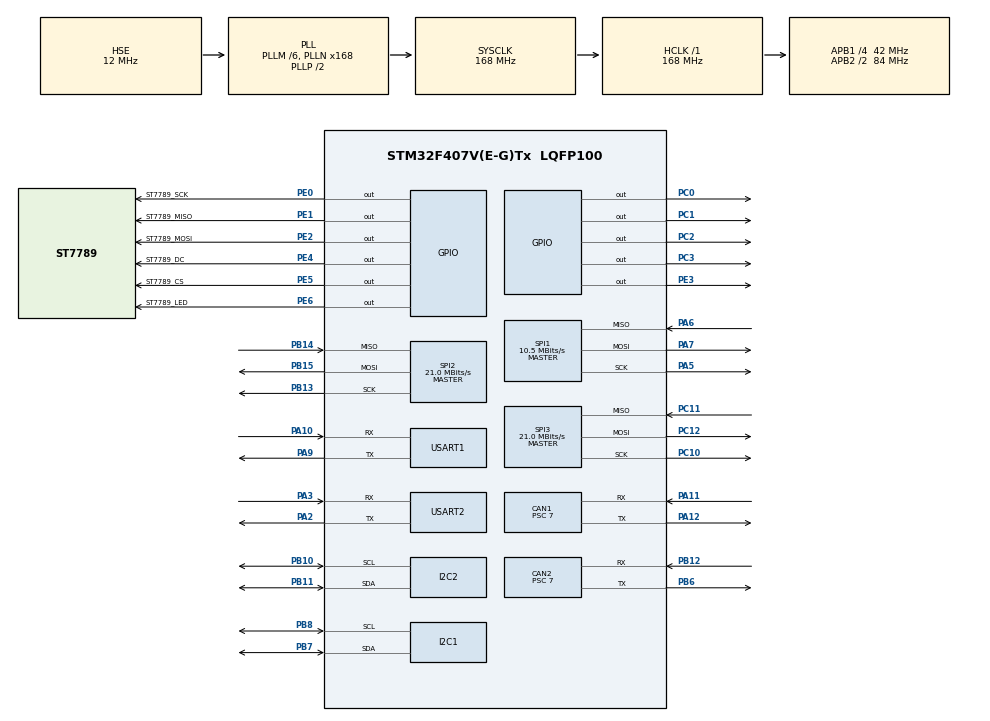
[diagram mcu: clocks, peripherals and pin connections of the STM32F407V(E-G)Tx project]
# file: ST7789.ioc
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CAN1.BS1=CAN_BS1_15TQ
CAN1.BS2=CAN_BS2_8TQ
CAN1.CalculateBaudRate=249999
CAN1.CalculateTimeBit=4000
CAN1.CalculateTimeQuantum=166.66666666666669
CAN1.Prescaler=7
CAN2.BS1=CAN_BS1_15TQ
CAN2.BS2=CAN_BS2_8TQ
CAN2.CalculateBaudRate=249999
CAN2.CalculateTimeBit=4000
CAN2.CalculateTimeQuantum=166.66666666666669
CAN2.Prescaler=7
Dma.Request0=SPI1_TX
Dma.Request1=SPI2_RX
Dma.Request2=SPI2_TX
Dma.Request3=SPI3_RX
Dma.Request4=SPI3_TX
Dma.Request5=USART1_RX
Dma.Request6=USART1_TX
Dma.Request7=USART2_RX
Dma.Request8=USART2_TX
Dma.SPI1_TX.0.Direction=DMA_MEMORY_TO_PERIPH
Dma.SPI1_TX.0.FIFOMode=DMA_FIFOMODE_DISABLE
Dma.SPI1_TX.0.Instance=DMA2_Stream3
Dma.SPI1_TX.0.MemDataAlignment=DMA_MDATAALIGN_BYTE
Dma.SPI1_TX.0.MemInc=DMA_MINC_ENABLE
Dma.SPI1_TX.0.Mode=DMA_NORMAL
Dma.SPI1_TX.0.PeriphDataAlignment=DMA_PDATAALIGN_BYTE
Dma.SPI1_TX.0.PeriphInc=DMA_PINC_DISABLE
Dma.SPI1_TX.0.Priority=DMA_PRIORITY_LOW
Dma.SPI2_RX.1.Direction=DMA_PERIPH_TO_MEMORY
Dma.SPI2_RX.1.FIFOMode=DMA_FIFOMODE_DISABLE
Dma.SPI2_RX.1.Instance=DMA1_Stream3
Dma.SPI2_RX.1.MemDataAlignment=DMA_MDATAALIGN_BYTE
Dma.SPI2_RX.1.MemInc=DMA_MINC_ENABLE
Dma.SPI2_RX.1.Mode=DMA_NORMAL
Dma.SPI2_RX.1.PeriphDataAlignment=DMA_PDATAALIGN_BYTE
Dma.SPI2_RX.1.PeriphInc=DMA_PINC_DISABLE
Dma.SPI2_RX.1.Priority=DMA_PRIORITY_LOW
Dma.SPI2_TX.2.Direction=DMA_MEMORY_TO_PERIPH
Dma.SPI2_TX.2.FIFOMode=DMA_FIFOMODE_DISABLE
Dma.SPI2_TX.2.Instance=DMA1_Stream4
Dma.SPI2_TX.2.MemDataAlignment=DMA_MDATAALIGN_BYTE
Dma.SPI2_TX.2.MemInc=DMA_MINC_ENABLE
Dma.SPI2_TX.2.Mode=DMA_NORMAL
Dma.SPI2_TX.2.PeriphDataAlignment=DMA_PDATAALIGN_BYTE
Dma.SPI2_TX.2.PeriphInc=DMA_PINC_DISABLE
Dma.SPI2_TX.2.Priority=DMA_PRIORITY_LOW
Dma.SPI3_RX.3.Direction=DMA_PERIPH_TO_MEMORY
Dma.SPI3_RX.3.FIFOMode=DMA_FIFOMODE_DISABLE
Dma.SPI3_RX.3.Instance=DMA1_Stream0
Dma.SPI3_RX.3.MemDataAlignment=DMA_MDATAALIGN_BYTE
Dma.SPI3_RX.3.MemInc=DMA_MINC_ENABLE
Dma.SPI3_RX.3.Mode=DMA_NORMAL
Dma.SPI3_RX.3.PeriphDataAlignment=DMA_PDATAALIGN_BYTE
Dma.SPI3_RX.3.PeriphInc=DMA_PINC_DISABLE
Dma.SPI3_RX.3.Priority=DMA_PRIORITY_LOW
Dma.SPI3_TX.4.Direction=DMA_MEMORY_TO_PERIPH
Dma.SPI3_TX.4.FIFOMode=DMA_FIFOMODE_DISABLE
Dma.SPI3_TX.4.Instance=DMA1_Stream7
Dma.SPI3_TX.4.MemDataAlignment=DMA_MDATAALIGN_BYTE
Dma.SPI3_TX.4.MemInc=DMA_MINC_ENABLE
Dma.SPI3_TX.4.Mode=DMA_NORMAL
Dma.SPI3_TX.4.PeriphDataAlignment=DMA_PDATAALIGN_BYTE
Dma.SPI3_TX.4.PeriphInc=DMA_PINC_DISABLE
Dma.SPI3_TX.4.Priority=DMA_PRIORITY_LOW
Dma.USART1_RX.5.Direction=DMA_PERIPH_TO_MEMORY
Dma.USART1_RX.5.FIFOMode=DMA_FIFOMODE_DISABLE
Dma.USART1_RX.5.Instance=DMA2_Stream2
Dma.USART1_RX.5.MemDataAlignment=DMA_MDATAALIGN_BYTE
Dma.USART1_RX.5.MemInc=DMA_MINC_ENABLE
Dma.USART1_RX.5.Mode=DMA_NORMAL
Dma.USART1_RX.5.PeriphDataAlignment=DMA_PDATAALIGN_BYTE
Dma.USART1_RX.5.PeriphInc=DMA_PINC_DISABLE
Dma.USART1_RX.5.Priority=DMA_PRIORITY_LOW
Dma.USART1_TX.6.Direction=DMA_MEMORY_TO_PERIPH
Dma.USART1_TX.6.FIFOMode=DMA_FIFOMODE_DISABLE
Dma.USART1_TX.6.Instance=DMA2_Stream7
Dma.USART1_TX.6.MemDataAlignment=DMA_MDATAALIGN_BYTE
Dma.USART1_TX.6.MemInc=DMA_MINC_ENABLE
Dma.USART1_TX.6.Mode=DMA_NORMAL
Dma.USART1_TX.6.PeriphDataAlignment=DMA_PDATAALIGN_BYTE
Dma.USART1_TX.6.PeriphInc=DMA_PINC_DISABLE
Dma.USART1_TX.6.Priority=DMA_PRIORITY_LOW
Dma.USART2_RX.7.Direction=DMA_PERIPH_TO_MEMORY
Dma.USART2_RX.7.FIFOMode=DMA_FIFOMODE_DISABLE
Dma.USART2_RX.7.Instance=DMA1_Stream5
Dma.USART2_RX.7.MemDataAlignment=DMA_MDATAALIGN_BYTE
Dma.USART2_RX.7.MemInc=DMA_MINC_ENABLE
Dma.USART2_RX.7.Mode=DMA_NORMAL
Dma.USART2_RX.7.PeriphDataAlignment=DMA_PDATAALIGN_BYTE
Dma.USART2_RX.7.PeriphInc=DMA_PINC_DISABLE
Dma.USART2_RX.7.Priority=DMA_PRIORITY_LOW
Dma.USART2_TX.8.Direction=DMA_MEMORY_TO_PERIPH
Dma.USART2_TX.8.FIFOMode=DMA_FIFOMODE_DISABLE
Dma.USART2_TX.8.Instance=DMA1_Stream6
Dma.USART2_TX.8.MemDataAlignment=DMA_MDATAALIGN_BYTE
Dma.USART2_TX.8.MemInc=DMA_MINC_ENABLE
Dma.USART2_TX.8.Mode=DMA_NORMAL
Dma.USART2_TX.8.PeriphDataAlignment=DMA_PDATAALIGN_BYTE
Dma.USART2_TX.8.PeriphInc=DMA_PINC_DISABLE
Dma.USART2_TX.8.Priority=DMA_PRIORITY_LOW
Mcu.Family=STM32F4
Mcu.Name=STM32F407V(E-G)Tx
Mcu.Package=LQFP100
NVIC.CAN1_RX0_IRQn=true\:0\:0\:false\:false\:true\:true\:true\:true
NVIC.CAN1_RX1_IRQn=true\:0\:0\:false\:false\:true\:true\:true\:true
NVIC.CAN1_SCE_IRQn=true\:0\:0\:false\:false\:true\:true\:true\:true
NVIC.CAN1_TX_IRQn=true\:0\:0\:false\:false\:true\:true\:true\:true
NVIC.CAN2_RX0_IRQn=true\:0\:0\:false\:false\:true\:true\:true\:true
NVIC.CAN2_RX1_IRQn=true\:0\:0\:false\:false\:true\:true\:true\:true
NVIC.CAN2_SCE_IRQn=true\:0\:0\:false\:false\:true\:true\:true\:true
NVIC.CAN2_TX_IRQn=true\:0\:0\:false\:false\:true\:true\:true\:true
NVIC.DMA1_Stream0_IRQn=true\:0\:0\:false\:false\:true\:false\:true\:true
NVIC.DMA1_Stream3_IRQn=true\:0\:0\:false\:false\:true\:false\:true\:true
NVIC.DMA1_Stream4_IRQn=true\:0\:0\:false\:false\:true\:false\:true\:true
NVIC.DMA1_Stream5_IRQn=true\:0\:0\:false\:false\:true\:false\:true\:true
NVIC.DMA1_Stream6_IRQn=true\:0\:0\:false\:false\:true\:false\:true\:true
NVIC.DMA1_Stream7_IRQn=true\:0\:0\:false\:false\:true\:false\:true\:true
NVIC.DMA2_Stream2_IRQn=true\:0\:0\:false\:false\:true\:false\:true\:true
NVIC.DMA2_Stream3_IRQn=true\:0\:0\:false\:false\:true\:false\:true\:true
NVIC.DMA2_Stream7_IRQn=true\:0\:0\:false\:false\:true\:false\:true\:true
NVIC.I2C1_ER_IRQn=true\:0\:0\:false\:false\:true\:true\:true\:true
NVIC.I2C1_EV_IRQn=true\:0\:0\:false\:false\:true\:true\:true\:true
NVIC.PriorityGroup=NVIC_PRIORITYGROUP_4
NVIC.SPI2_IRQn=true\:0\:0\:false\:false\:true\:true\:true\:true
NVIC.SPI3_IRQn=true\:0\:0\:false\:false\:true\:true\:true\:true
NVIC.TIM3_IRQn=true\:0\:0\:false\:false\:true\:true\:true\:true
NVIC.TIM8_TRG_COM_TIM14_IRQn=true\:15\:0\:false\:false\:true\:false\:true\:true
NVIC.TimeBase=TIM8_TRG_COM_TIM14_IRQn
NVIC.TimeBaseIP=TIM14
NVIC.USART1_IRQn=true\:0\:0\:false\:false\:true\:true\:true\:true
NVIC.USART2_IRQn=true\:0\:0\:false\:false\:true\:true\:true\:true
PA10.Mode=Asynchronous
PA10.Signal=USART1_RX
PA11.Mode=CAN_Activate
PA11.Signal=CAN1_RX
PA12.Mode=CAN_Activate
PA12.Signal=CAN1_TX
PA13.Mode=Serial_Wire
PA13.Signal=SYS_JTMS-SWDIO
PA14.Mode=Serial_Wire
PA14.Signal=SYS_JTCK-SWCLK
PA2.Mode=Asynchronous
PA2.Signal=USART2_TX
PA3.Mode=Asynchronous
PA3.Signal=USART2_RX
PA5.Mode=Full_Duplex_Master
PA5.Signal=SPI1_SCK
PA6.Mode=Full_Duplex_Master
PA6.Signal=SPI1_MISO
PA7.Mode=Full_Duplex_Master
PA7.Signal=SPI1_MOSI
PA9.Mode=Asynchronous
PA9.Signal=USART1_TX
PB10.Mode=I2C
PB10.Signal=I2C2_SCL
PB11.Mode=I2C
PB11.Signal=I2C2_SDA
PB12.Mode=CAN_Activate
PB12.Signal=CAN2_RX
PB13.Mode=Full_Duplex_Master
PB13.Signal=SPI2_SCK
PB14.Mode=Full_Duplex_Master
PB14.Signal=SPI2_MISO
PB15.Mode=Full_Duplex_Master
PB15.Signal=SPI2_MOSI
PB6.Mode=CAN_Activate
PB6.Signal=CAN2_TX
PB7.Mode=I2C
PB7.Signal=I2C1_SDA
PB8.Mode=I2C
PB8.Signal=I2C1_SCL
PC0.GPIO_PuPd=GPIO_PULLUP
PC0.GPIO_Speed=GPIO_SPEED_FREQ_MEDIUM
PC0.Signal=GPIO_Output
PC1.GPIO_PuPd=GPIO_PULLUP
PC1.GPIO_Speed=GPIO_SPEED_FREQ_MEDIUM
PC1.Signal=GPIO_Output
PC10.Mode=Full_Duplex_Master
PC10.Signal=SPI3_SCK
PC11.Mode=Full_Duplex_Master
PC11.Signal=SPI3_MISO
PC12.Mode=Full_Duplex_Master
PC12.Signal=SPI3_MOSI
PC2.GPIO_PuPd=GPIO_PULLUP
PC2.GPIO_Speed=GPIO_SPEED_FREQ_MEDIUM
PC2.Signal=GPIO_Output
PC3.GPIO_PuPd=GPIO_PULLUP
PC3.GPIO_Speed=GPIO_SPEED_FREQ_MEDIUM
PC3.Signal=GPIO_Output
PE0.GPIO_Label=ST7789_SCK
PE0.GPIO_PuPd=GPIO_PULLDOWN
PE0.GPIO_Speed=GPIO_SPEED_FREQ_MEDIUM
PE0.Signal=GPIO_Output
PE1.GPIO_Label=ST7789_MISO
PE1.Signal=GPIO_Output
PE2.GPIO_Label=ST7789_MOSI
PE2.GPIO_PuPd=GPIO_PULLUP
PE2.GPIO_Speed=GPIO_SPEED_FREQ_MEDIUM
PE2.Signal=GPIO_Output
PE3.Signal=GPIO_Output
PE4.GPIO_Label=ST7789_DC
PE4.GPIO_Speed=GPIO_SPEED_FREQ_MEDIUM
PE4.PinState=GPIO_PIN_SET
PE4.Signal=GPIO_Output
PE5.GPIO_Label=ST7789_CS
PE5.GPIO_Speed=GPIO_SPEED_FREQ_MEDIUM
PE5.Signal=GPIO_Output
PE6.GPIO_Label=ST7789_LED
PE6.GPIO_PuPd=GPIO_PULLUP
PE6.GPIO_Speed=GPIO_SPEED_FREQ_MEDIUM
PE6.Signal=GPIO_Output
PH0-OSC_IN.Mode=HSE-External-Oscillator
PH0-OSC_IN.Signal=RCC_OSC_IN
PH1-OSC_OUT.Mode=HSE-External-Oscillator
PH1-OSC_OUT.Signal=RCC_OSC_OUT
ProjectManager.HeapSize=0x2000
ProjectManager.StackSize=0x2000
ProjectManager.TargetToolchain=MDK-ARM V5.32
RCC.48MHZClocksFreq_Value=84000000
RCC.AHBFreq_Value=168000000
RCC.APB1CLKDivider=RCC_HCLK_DIV4
RCC.APB1Freq_Value=42000000
RCC.APB1TimFreq_Value=84000000
RCC.APB2CLKDivider=RCC_HCLK_DIV2
RCC.APB2Freq_Value=84000000
RCC.APB2TimFreq_Value=168000000
RCC.CortexFreq_Value=168000000
RCC.HCLKFreq_Value=168000000
RCC.HSE_VALUE=12000000
RCC.HSI_VALUE=16000000
RCC.LSE_VALUE=32768
RCC.PLLM=6
RCC.PLLN=168
RCC.PLLSourceVirtual=RCC_PLLSOURCE_HSE
RCC.SYSCLKFreq_VALUE=168000000
RCC.SYSCLKSource=RCC_SYSCLKSOURCE_PLLCLK
RCC.VCOOutputFreq_Value=336000000
SPI1.BaudRatePrescaler=SPI_BAUDRATEPRESCALER_8
SPI1.CRCCalculation=SPI_CRCCALCULATION_DISABLE
SPI1.CalculateBaudRate=10.5 MBits/s
SPI1.Direction=SPI_DIRECTION_2LINES
SPI1.Mode=SPI_MODE_MASTER
SPI1.VirtualType=VM_MASTER
SPI2.CalculateBaudRate=21.0 MBits/s
SPI2.Direction=SPI_DIRECTION_2LINES
SPI2.Mode=SPI_MODE_MASTER
SPI2.VirtualType=VM_MASTER
SPI3.CalculateBaudRate=21.0 MBits/s
SPI3.Direction=SPI_DIRECTION_2LINES
SPI3.Mode=SPI_MODE_MASTER
SPI3.VirtualType=VM_MASTER
TIM3.Period=999
TIM3.Prescaler=83
USART1.VirtualMode=VM_ASYNC
USART2.VirtualMode=VM_ASYNC
VP_SYS_VS_tim14.Mode=TIM14
VP_TIM3_VS_ClockSourceINT.Mode=Internal
board=custom

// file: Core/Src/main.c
/* USER CODE BEGIN Header */
/**
  ******************************************************************************
  * @file           : main.c
  * @brief          : Main program body
  ******************************************************************************
  * @attention
  *
  * Copyright (c) 2026 STMicroelectronics.
  * All rights reserved.
  *
  * This software is licensed under terms that can be found in the LICENSE file
  * in the root directory of this software component.
  * If no LICENSE file comes with this software, it is provided AS-IS.
  *
  ******************************************************************************
  */
/* USER CODE END Header */
#include "main.h"
#include "can.h"
#include "dma.h"
#include "i2c.h"
#include "spi.h"
#include "tim.h"
#include "usart.h"
#include "gpio.h"

/* USER CODE BEGIN Includes */
#include "LCD.h"
#include "Delay.h"
#include "lvgl.h"
#include <stdio.h>
#include "USART_RT.h"
#include "CAN_RT.h"
#include "IIC_RT.h"
#include "SPI_RT.h"
#include "Transfer.h"
#include "ui.h"
/* USER CODE END Includes */

void SystemClock_Config(void);
/* USER CODE BEGIN PFP */
extern void lv_port_disp_init(void);
extern void lv_port_indev_init(void);
/* USER CODE END PFP */

int main(void)
{

  /* MCU Configuration--------------------------------------------------------*/

  /* Reset of all peripherals, Initializes the Flash interface and the Systick. */
  HAL_Init();

  /* Configure the system clock */
  SystemClock_Config();

  /* Initialize all configured peripherals */
  MX_GPIO_Init();
  MX_DMA_Init();
  MX_SPI1_Init();
  MX_TIM3_Init();
  MX_CAN1_Init();
  MX_CAN2_Init();
  MX_I2C1_Init();
  MX_I2C2_Init();
  MX_SPI2_Init();
  MX_SPI3_Init();
  MX_USART1_UART_Init();
  MX_USART2_UART_Init();
  /* USER CODE BEGIN 2 */
		DWT_Delay_Init();
		LCD_Init();
		LCD_Display_Dir(USE_LCM_DIR);
		LCD_LED(1);
		USART_RT_Init();
		CAN_RT_Init();
		IIC_RT_Init();
		SPI_RT_Init();
		Transfer_Init();
		lv_init();
		lv_port_disp_init();
		lv_port_indev_init();
		UI_Init();

  /* USER CODE END 2 */

  /* Infinite loop */
  while (1)
  {

    /* USER CODE BEGIN 3 */
      Transfer_Poll();//连续处理直至RingBuffer清空
      Transfer_Poll();
      Transfer_Poll();
      Transfer_Poll();
      lv_timer_handler();
  }
  /* USER CODE END 3 */
}

void SystemClock_Config(void)
{
  RCC_OscInitTypeDef RCC_OscInitStruct = {0};
  RCC_ClkInitTypeDef RCC_ClkInitStruct = {0};

  /** Configure the main internal regulator output voltage
  */
  __HAL_RCC_PWR_CLK_ENABLE();
  __HAL_PWR_VOLTAGESCALING_CONFIG(PWR_REGULATOR_VOLTAGE_SCALE1);

  /** Initializes the RCC Oscillators according to the specified parameters
  * in the RCC_OscInitTypeDef structure.
  */
  RCC_OscInitStruct.OscillatorType = RCC_OSCILLATORTYPE_HSE;
  RCC_OscInitStruct.HSEState = RCC_HSE_ON;
  RCC_OscInitStruct.PLL.PLLState = RCC_PLL_ON;
  RCC_OscInitStruct.PLL.PLLSource = RCC_PLLSOURCE_HSE;
  RCC_OscInitStruct.PLL.PLLM = 6;
  RCC_OscInitStruct.PLL.PLLN = 168;
  RCC_OscInitStruct.PLL.PLLP = RCC_PLLP_DIV2;
  RCC_OscInitStruct.PLL.PLLQ = 4;
  if (HAL_RCC_OscConfig(&RCC_OscInitStruct) != HAL_OK)
  {
    Error_Handler();
  }

  /** Initializes the CPU, AHB and APB buses clocks
  */
  RCC_ClkInitStruct.ClockType = RCC_CLOCKTYPE_HCLK|RCC_CLOCKTYPE_SYSCLK
                              |RCC_CLOCKTYPE_PCLK1|RCC_CLOCKTYPE_PCLK2;
  RCC_ClkInitStruct.SYSCLKSource = RCC_SYSCLKSOURCE_PLLCLK;
  RCC_ClkInitStruct.AHBCLKDivider = RCC_SYSCLK_DIV1;
  RCC_ClkInitStruct.APB1CLKDivider = RCC_HCLK_DIV4;
  RCC_ClkInitStruct.APB2CLKDivider = RCC_HCLK_DIV2;

  if (HAL_RCC_ClockConfig(&RCC_ClkInitStruct, FLASH_LATENCY_5) != HAL_OK)
  {
    Error_Handler();
  }
}

void HAL_TIM_PeriodElapsedCallback(TIM_HandleTypeDef *htim)
{
  if (htim->Instance == TIM14)
  {
    HAL_IncTick();
  }
  /* USER CODE BEGIN Callback 1 */
  if (htim->Instance == TIM14)
  {
    lv_tick_inc(1);
  }
  /* USER CODE END Callback 1 */
}

void Error_Handler(void)
{
  __disable_irq();
  while (1)
  {
  }
}
